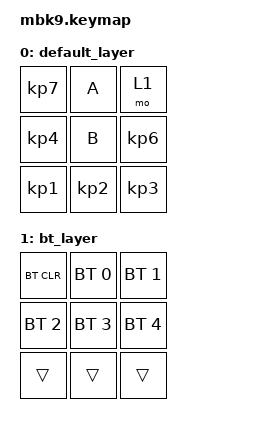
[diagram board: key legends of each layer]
#include <behaviors.dtsi>
#include <dt-bindings/zmk/keys.h>
#include <dt-bindings/zmk/bt.h>

/ {
    keymap {
        compatible = "zmk,keymap";

        default_layer {
            bindings = <
                &kp KP_N7 &kp A &mo 1
                &kp KP_N4 &kp B &kp KP_N6
                &kp KP_N1 &kp KP_N2 &kp KP_N3
            >;
        };

        bt_layer {
            bindings = <
                &bt BT_CLR &bt BT_SEL 0 &bt BT_SEL 1
                &bt BT_SEL 2 &bt BT_SEL 3 &bt BT_SEL 4
                &trans &trans &trans
            >;
        };
    };
};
